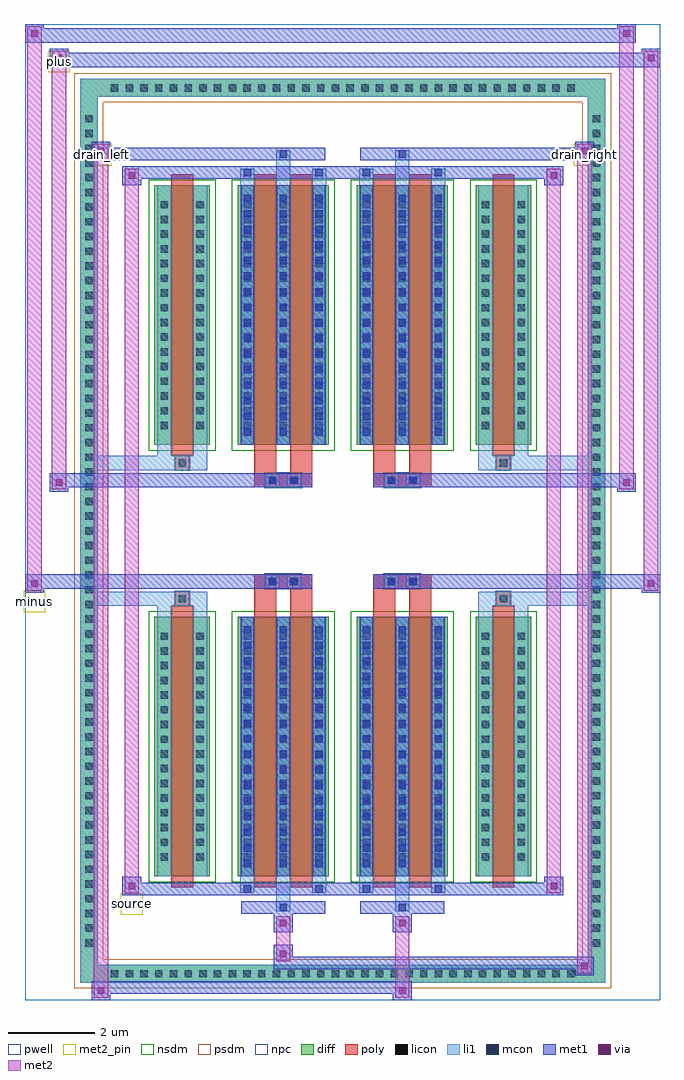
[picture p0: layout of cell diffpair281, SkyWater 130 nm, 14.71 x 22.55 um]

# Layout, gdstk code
import gdstk
lib = gdstk.Library(unit=1e-6, precision=5e-09)
def R(c, l, rs):  # rectangles x0, y0, x1, y1
    for r in rs: c.add(gdstk.rectangle(r[:2], r[2:], *l))
def A(c, l, x, y, w, h, nx, ny, dx, dy):  # array of equal rectangles
    R(c, l, [(x+i*dx, y+j*dy, x+i*dx+w, y+j*dy+h) for i in range(nx) for j in range(ny)])
def P(c, l, *ps):  # polygons
    for p in ps: c.add(gdstk.Polygon(p, *l))
pwell = (64, 44)
diff = (65, 20)
poly = (66, 20)
licon = (66, 44)
li1 = (67, 20)
mcon = (67, 44)
met1 = (68, 20)
via = (68, 44)
met2_pin = (69, 16)
met2 = (69, 20)
nsdm = (93, 44)
psdm = (94, 20)
npc = (95, 20)

diffpair281 = lib.new_cell('diffpair281')
R(diffpair281, pwell, [(-7.34,-10.84,7.34,11.71), (-4.66,-9.03,-0.01,-0.805), (0.01,-9.03,4.66,-0.805), (-4.66,0.805,-0.01,9.03), (0.01,0.805,4.66,9.03)])
A(diffpair281, diff, -5.475, -10.44, 0.41, 0.41, 32, 2, 0.34, 20.47)
A(diffpair281, diff, -6.07, -9.725, 0.41, 0.41, 1, 57, 0, 0.34)
A(diffpair281, diff, 5.66, -9.725, 0.41, 0.41, 1, 57, 0, 0.34)
R(diffpair281, diff, [(-5.475,-10.44,5.475,-10.03), (-6.07,-9.725,-5.66,9.725), (5.66,-9.725,6.07,9.725), (-4.35,-7.985,-3.07,-1.985), (-2.43,-7.985,-0.32,-1.985), (0.32,-7.985,2.43,-1.985), (3.07,-7.985,4.35,-1.985), (-4.35,1.985,-3.07,7.985), (-2.43,1.985,-0.32,7.985), (0.32,1.985,2.43,7.985), (3.07,1.985,4.35,7.985), (-5.475,10.03,5.475,10.44)])
P(diffpair281, diff, [(6.07,10.44),(-6.07,10.44),(-6.07,-10.03),(-5.66,-10.03),(-5.66,10.03),(5.66,10.03),(5.66,-10.03),(-5.66,-10.03),(-6.07,-10.03),(-6.07,-10.44),(6.07,-10.44)])
R(diffpair281, poly, [(-3.96,-8.235,-3.46,-1.735), (-2.04,-8.235,-1.54,-1.735), (-1.21,-8.235,-0.71,-1.735), (0.71,-8.235,1.21,-1.735), (1.54,-8.235,2.04,-1.735), (3.46,-8.235,3.96,-1.735), (-3.875,-1.735,-3.545,-1.405), (-3.875,-1.735,-3.545,-1.405), (-2.04,-1.735,-1.54,-1.335), (-1.21,-1.735,-0.71,-1.335), (0.71,-1.735,1.21,-1.335), (1.54,-1.735,2.04,-1.335), (3.545,-1.735,3.875,-1.405), (3.545,-1.735,3.875,-1.405), (-2.04,-1.335,-0.71,-1.005), (-1.79,-1.335,-1.46,-1.005), (-1.29,-1.335,-0.96,-1.005), (0.71,-1.335,2.04,-1.005), (0.96,-1.335,1.29,-1.005), (1.46,-1.335,1.79,-1.005), (-2.04,1.005,-0.71,1.335), (-1.79,1.005,-1.46,1.335), (-1.29,1.005,-0.96,1.335), (0.71,1.005,2.04,1.335), (0.96,1.005,1.29,1.335), (1.46,1.005,1.79,1.335), (-2.04,1.335,-1.54,1.735), (-1.21,1.335,-0.71,1.735), (0.71,1.335,1.21,1.735), (1.54,1.335,2.04,1.735), (-3.875,1.405,-3.545,1.735), (-3.875,1.405,-3.545,1.735), (3.545,1.405,3.875,1.735), (3.545,1.405,3.875,1.735), (-3.96,1.735,-3.46,8.235), (-2.04,1.735,-1.54,8.235), (-1.21,1.735,-0.71,8.235), (0.71,1.735,1.21,8.235), (1.54,1.735,2.04,8.235), (3.46,1.735,3.96,8.235)])
A(diffpair281, licon, -5.355, -10.32, 0.17, 0.17, 32, 2, 0.34, 20.47)
A(diffpair281, licon, -5.95, -9.605, 0.17, 0.17, 1, 57, 0, 0.34)
A(diffpair281, licon, 5.78, -9.605, 0.17, 0.17, 1, 57, 0, 0.34)
A(diffpair281, licon, -4.21, -7.62, 0.17, 0.17, 1, 16, 0, 0.34)
A(diffpair281, licon, -3.38, -7.62, 0.17, 0.17, 1, 16, 0, 0.34)
A(diffpair281, licon, -2.29, -7.62, 0.17, 0.17, 3, 16, 0.83, 0.34)
A(diffpair281, licon, 0.46, -7.62, 0.17, 0.17, 3, 16, 0.83, 0.34)
A(diffpair281, licon, 3.21, -7.62, 0.17, 0.17, 1, 16, 0, 0.34)
A(diffpair281, licon, 4.04, -7.62, 0.17, 0.17, 1, 16, 0, 0.34)
A(diffpair281, licon, -4.21, 2.35, 0.17, 0.17, 1, 16, 0, 0.34)
A(diffpair281, licon, -3.38, 2.35, 0.17, 0.17, 1, 16, 0, 0.34)
A(diffpair281, licon, -2.29, 2.35, 0.17, 0.17, 3, 16, 0.83, 0.34)
A(diffpair281, licon, 0.46, 2.35, 0.17, 0.17, 3, 16, 0.83, 0.34)
A(diffpair281, licon, 3.21, 2.35, 0.17, 0.17, 1, 16, 0, 0.34)
A(diffpair281, licon, 4.04, 2.35, 0.17, 0.17, 1, 16, 0, 0.34)
R(diffpair281, licon, [(-3.795,-1.655,-3.625,-1.485), (3.625,-1.655,3.795,-1.485), (-1.71,-1.255,-1.54,-1.085), (-1.21,-1.255,-1.04,-1.085), (1.04,-1.255,1.21,-1.085), (1.54,-1.255,1.71,-1.085), (-1.71,1.085,-1.54,1.255), (-1.21,1.085,-1.04,1.255), (1.04,1.085,1.21,1.255), (1.54,1.085,1.71,1.255), (-3.795,1.485,-3.625,1.655), (3.625,1.485,3.795,1.655)])
A(diffpair281, li1, -5.435, -10.4, 0.33, 0.33, 32, 2, 0.34, 20.47)
A(diffpair281, li1, -6.03, -9.685, 0.33, 0.33, 1, 57, 0, 0.34)
A(diffpair281, li1, 5.7, -9.685, 0.33, 0.33, 1, 57, 0, 0.34)
A(diffpair281, li1, -2.37, -7.985, 0.33, 6, 3, 2, 0.83, 9.97)
A(diffpair281, li1, 0.38, -7.985, 0.33, 6, 3, 2, 0.83, 9.97)
A(diffpair281, li1, -2.29, -7.77, 0.17, 0.17, 3, 16, 0.83, 0.36)
A(diffpair281, li1, -2.29, -7.77, 0.17, 5.57, 3, 2, 0.83, 9.97)
A(diffpair281, li1, 0.46, -7.77, 0.17, 0.17, 3, 16, 0.83, 0.36)
A(diffpair281, li1, 0.46, -7.77, 0.17, 5.57, 3, 2, 0.83, 9.97)
A(diffpair281, li1, -4.29, -7.7, 0.33, 0.33, 1, 16, 0, 0.34)
A(diffpair281, li1, -3.46, -7.7, 0.33, 0.33, 1, 16, 0, 0.34)
A(diffpair281, li1, -2.37, -7.7, 0.33, 0.33, 3, 16, 0.83, 0.34)
A(diffpair281, li1, 0.38, -7.7, 0.33, 0.33, 3, 16, 0.83, 0.34)
A(diffpair281, li1, 3.13, -7.7, 0.33, 0.33, 1, 16, 0, 0.34)
A(diffpair281, li1, 3.96, -7.7, 0.33, 0.33, 1, 16, 0, 0.34)
A(diffpair281, li1, -2.29, 2.2, 0.17, 0.17, 3, 16, 0.83, 0.36)
A(diffpair281, li1, 0.46, 2.2, 0.17, 0.17, 3, 16, 0.83, 0.36)
A(diffpair281, li1, -4.29, 2.27, 0.33, 0.33, 1, 16, 0, 0.34)
A(diffpair281, li1, -3.46, 2.27, 0.33, 0.33, 1, 16, 0, 0.34)
A(diffpair281, li1, -2.37, 2.27, 0.33, 0.33, 3, 16, 0.83, 0.34)
A(diffpair281, li1, 0.38, 2.27, 0.33, 0.33, 3, 16, 0.83, 0.34)
A(diffpair281, li1, 3.13, 2.27, 0.33, 0.33, 1, 16, 0, 0.34)
A(diffpair281, li1, 3.96, 2.27, 0.33, 0.33, 1, 16, 0, 0.34)
R(diffpair281, li1, [(-6.07,-10.44,-5.66,-10.03), (-6.07,-10.44,-5.66,-10.03), (-5.66,-10.44,5.66,-10.03), (5.66,-10.44,6.07,-10.03), (5.66,-10.44,6.07,-10.03), (-6.07,-10.03,-5.66,10.03), (5.66,-10.03,6.07,10.03), (-1.54,-8.79,-1.21,-7.985), (-1.46,-8.79,-1.29,-8.62), (1.21,-8.79,1.54,-7.985), (1.29,-8.79,1.46,-8.62), (-2.37,-8.36,-2.04,-7.985), (-2.29,-8.36,-2.12,-8.19), (-0.71,-8.36,-0.38,-7.985), (-0.63,-8.36,-0.46,-8.19), (0.38,-8.36,0.71,-7.985), (0.46,-8.36,0.63,-8.19), (2.04,-8.36,2.37,-7.985), (2.12,-8.36,2.29,-8.19), (-4.29,-7.985,-3.96,-1.985), (-3.46,-7.985,-3.13,-1.985), (3.13,-7.985,3.46,-1.985), (3.96,-7.985,4.29,-1.985), (-4.29,-1.985,-3.96,-1.405), (-3.46,-1.985,-3.13,-1.405), (3.13,-1.985,3.46,-1.405), (3.96,-1.985,4.29,-1.405), (-6.07,-1.735,-3.875,-1.405), (-4.29,-1.735,-3.875,-1.405), (-3.875,-1.735,-3.545,-1.405), (-3.545,-1.735,-3.13,-1.405), (3.13,-1.735,3.545,-1.405), (3.545,-1.735,3.875,-1.405), (3.545,-1.735,6.07,-1.405), (3.875,-1.735,4.29,-1.405), (-1.79,-1.335,-1.46,-1.005), (-1.29,-1.335,-0.96,-1.005), (0.96,-1.335,1.29,-1.005), (1.46,-1.335,1.79,-1.005), (-1.79,1.005,-1.46,1.335), (-1.29,1.005,-0.96,1.335), (0.96,1.005,1.29,1.335), (1.46,1.005,1.79,1.335), (-6.07,1.405,-3.875,1.735), (-4.29,1.405,-3.875,1.735), (-4.29,1.405,-3.96,1.985), (-3.875,1.405,-3.545,1.735), (-3.545,1.405,-3.13,1.735), (-3.46,1.405,-3.13,1.985), (3.13,1.405,3.545,1.735), (3.13,1.405,3.46,1.985), (3.545,1.405,3.875,1.735), (3.545,1.405,6.07,1.735), (3.875,1.405,4.29,1.735), (3.96,1.405,4.29,1.985), (-4.29,1.985,-3.96,7.985), (-3.46,1.985,-3.13,7.985), (3.13,1.985,3.46,7.985), (3.96,1.985,4.29,7.985), (-2.37,7.985,-2.04,8.36), (-1.54,7.985,-1.21,8.79), (-0.71,7.985,-0.38,8.36), (0.38,7.985,0.71,8.36), (1.21,7.985,1.54,8.79), (2.04,7.985,2.37,8.36), (-2.29,8.19,-2.12,8.36), (-0.63,8.19,-0.46,8.36), (0.46,8.19,0.63,8.36), (2.12,8.19,2.29,8.36), (-1.46,8.62,-1.29,8.79), (1.29,8.62,1.46,8.79), (-6.07,10.03,-5.66,10.44), (-6.07,10.03,-5.66,10.44), (-5.66,10.03,5.66,10.44), (5.66,10.03,6.07,10.44), (5.66,10.03,6.07,10.44)])
A(diffpair281, mcon, -2.29, -7.77, 0.17, 0.17, 3, 16, 0.83, 0.36)
A(diffpair281, mcon, 0.46, -7.77, 0.17, 0.17, 3, 16, 0.83, 0.36)
A(diffpair281, mcon, -2.29, 2.2, 0.17, 0.17, 3, 16, 0.83, 0.36)
A(diffpair281, mcon, 0.46, 2.2, 0.17, 0.17, 3, 16, 0.83, 0.36)
R(diffpair281, mcon, [(-1.46,-8.79,-1.29,-8.62), (1.29,-8.79,1.46,-8.62), (-2.29,-8.36,-2.12,-8.19), (-0.63,-8.36,-0.46,-8.19), (0.46,-8.36,0.63,-8.19), (2.12,-8.36,2.29,-8.19), (-1.71,-1.255,-1.54,-1.085), (-1.21,-1.255,-1.04,-1.085), (1.04,-1.255,1.21,-1.085), (1.54,-1.255,1.71,-1.085), (-1.71,1.085,-1.54,1.255), (-1.21,1.085,-1.04,1.255), (1.04,1.085,1.21,1.255), (1.54,1.085,1.71,1.255), (-2.29,8.19,-2.12,8.36), (-0.63,8.19,-0.46,8.36), (0.46,8.19,0.63,8.36), (2.12,8.19,2.29,8.36), (-1.46,8.62,-1.29,8.79), (1.29,8.62,1.46,8.79)])
A(diffpair281, met1, -2.35, -7.985, 0.29, 6, 3, 2, 0.83, 9.97)
A(diffpair281, met1, 0.4, -7.985, 0.29, 6, 3, 2, 0.83, 9.97)
A(diffpair281, met1, -2.35, -7.83, 0.29, 0.29, 3, 16, 0.83, 0.36)
A(diffpair281, met1, 0.4, -7.83, 0.29, 0.29, 3, 16, 0.83, 0.36)
A(diffpair281, met1, -2.35, 2.14, 0.29, 0.29, 3, 16, 0.83, 0.36)
A(diffpair281, met1, 0.4, 2.14, 0.29, 0.29, 3, 16, 0.83, 0.36)
R(diffpair281, met1, [(-5.8,-10.84,-5.37,-10.41), (1.16,-10.84,1.59,-10.41), (-5.8,-10.7,1.59,-10.41), (5.37,-10.27,5.8,-9.84), (-1.59,-10.13,5.8,-9.84), (-1.59,-9.99,-1.16,-9.56), (-1.59,-9.28,-1.16,-8.85), (1.16,-9.28,1.59,-8.85), (-2.35,-8.85,-0.4,-8.56), (-1.52,-8.85,-1.23,-8.56), (0.4,-8.85,2.35,-8.56), (1.23,-8.85,1.52,-8.56), (-5.09,-8.42,-4.66,-7.99), (-5.09,-8.42,-2.35,-8.13), (-2.35,-8.42,-2.06,-8.13), (-2.35,-8.42,-0.4,-8.13), (-0.69,-8.42,-0.4,-8.13), (-0.4,-8.42,0.4,-8.13), (0.4,-8.42,0.69,-8.13), (0.4,-8.42,2.35,-8.13), (2.06,-8.42,2.35,-8.13), (2.35,-8.42,5.09,-8.13), (4.66,-8.42,5.09,-7.99), (-7.34,-1.435,-6.91,-1.005), (6.91,-1.435,7.34,-1.005), (-7.34,-1.335,-0.71,-1.005), (-2.04,-1.335,-0.71,-1.005), (0.71,-1.335,2.04,-1.005), (0.71,-1.335,7.34,-1.005), (-1.77,-1.315,-1.48,-1.025), (-1.27,-1.315,-0.98,-1.025), (0.98,-1.315,1.27,-1.025), (1.48,-1.315,1.77,-1.025), (-6.77,0.905,-6.34,1.335), (6.34,0.905,6.77,1.335), (-6.77,1.005,-2.04,1.335), (-2.04,1.005,-0.71,1.335), (0.71,1.005,2.04,1.335), (2.04,1.005,6.77,1.335), (-1.77,1.025,-1.48,1.315), (-1.27,1.025,-0.98,1.315), (0.98,1.025,1.27,1.315), (1.48,1.025,1.77,1.315), (-5.09,7.99,-4.66,8.42), (4.66,7.99,5.09,8.42), (-5.09,8.13,-2.35,8.42), (-2.35,8.13,-2.06,8.42), (-2.35,8.13,-0.4,8.42), (-0.69,8.13,-0.4,8.42), (-0.4,8.13,0.4,8.42), (0.4,8.13,0.69,8.42), (0.4,8.13,2.35,8.42), (2.06,8.13,2.35,8.42), (2.35,8.13,5.09,8.42), (-5.8,8.56,-5.37,8.99), (-5.8,8.56,-2.35,8.85), (-2.35,8.56,-0.4,8.85), (-1.52,8.56,-1.23,8.85), (0.4,8.56,2.35,8.85), (1.23,8.56,1.52,8.85), (2.35,8.56,5.8,8.85), (5.37,8.56,5.8,8.99), (-6.77,10.71,-6.34,11.14), (-6.77,10.71,-4.66,11.04), (-4.66,10.71,4.66,11.04), (4.66,10.71,7.34,11.04), (6.91,10.71,7.34,11.14), (-7.34,11.28,-6.91,11.71), (-7.34,11.28,-4.66,11.61), (-4.66,11.28,4.66,11.61), (4.66,11.28,6.77,11.61), (6.34,11.28,6.77,11.71)])
R(diffpair281, via, [(-5.66,-10.7,-5.51,-10.55), (1.3,-10.7,1.45,-10.55), (5.51,-10.13,5.66,-9.98), (-1.45,-9.85,-1.3,-9.7), (-1.45,-9.14,-1.3,-8.99), (1.3,-9.14,1.45,-8.99), (-4.95,-8.28,-4.8,-8.13), (4.8,-8.28,4.95,-8.13), (-7.2,-1.295,-7.05,-1.145), (7.05,-1.295,7.2,-1.145), (-6.63,1.045,-6.48,1.195), (6.48,1.045,6.63,1.195), (-4.95,8.13,-4.8,8.28), (4.8,8.13,4.95,8.28), (-5.66,8.7,-5.51,8.85), (5.51,8.7,5.66,8.85), (-6.63,10.85,-6.48,11), (7.05,10.85,7.2,11), (-7.2,11.42,-7.05,11.57), (6.48,11.42,6.63,11.57)])
R(diffpair281, met2_pin, [(-5.125,-8.87,-4.625,-8.37), (-7.375,-1.885,-6.875,-1.385), (-5.835,8.44,-5.335,8.94), (5.335,8.44,5.835,8.94), (-6.805,10.59,-6.305,11.09)])
R(diffpair281, met2, [(-5.75,-10.79,-5.42,-10.46), (-5.75,-10.79,-5.42,8.94), (1.21,-10.79,1.54,-10.46), (1.21,-10.46,1.54,-9.23), (5.42,-10.22,5.75,-9.89), (5.42,-10.22,5.75,8.94), (-1.54,-9.94,-1.21,-9.61), (-1.54,-9.61,-1.21,-9.23), (-1.54,-9.23,-1.21,-8.9), (1.21,-9.23,1.54,-8.9), (-5.04,-8.37,-4.71,-8.04), (-5.04,-8.37,-4.71,8.37), (4.71,-8.37,5.04,-8.04), (4.71,-8.37,5.04,8.37), (-7.29,-1.385,-6.96,-1.055), (-7.29,-1.385,-6.96,11.66), (6.96,-1.385,7.29,-1.055), (6.96,-1.385,7.29,11.09), (-6.72,0.955,-6.39,1.285), (-6.72,0.955,-6.39,11.09), (6.39,0.955,6.72,1.285), (6.39,0.955,6.72,11.66), (-5.04,8.04,-4.71,8.37), (4.71,8.04,5.04,8.37), (-5.75,8.61,-5.42,8.94), (5.42,8.61,5.75,8.94), (-6.72,10.76,-6.39,11.09), (6.96,10.76,7.29,11.09), (-7.29,11.33,-6.96,11.66), (6.39,11.33,6.72,11.66)])
P(diffpair281, met2, [(7.29,-1.385),(7.29,-1.385),(7.29,-1.055),(7.29,-1.055)],
  [(7.29,10.76),(7.29,10.76),(7.29,11.09),(7.29,11.09)],
  [(-6.96,-1.385),(-6.96,-1.385),(-6.96,-1.055),(-6.96,-1.055)],
  [(-6.96,11.33),(-6.96,11.33),(-6.96,11.66),(-6.96,11.66)],
  [(6.72,0.955),(6.72,0.955),(6.72,1.285),(6.72,1.285)],
  [(6.72,11.33),(6.72,11.33),(6.72,11.66),(6.72,11.66)],
  [(-6.39,0.955),(-6.39,0.955),(-6.39,1.285),(-6.39,1.285)],
  [(-6.39,10.76),(-6.39,10.76),(-6.39,11.09),(-6.39,11.09)],
  [(-5.42,-10.79),(-5.42,-10.79),(-5.42,-10.46),(-5.42,-10.46)],
  [(-5.42,8.61),(-5.42,8.61),(-5.42,8.94),(-5.42,8.94)],
  [(5.75,-10.22),(5.75,-10.22),(5.75,-9.89),(5.75,-9.89)],
  [(5.75,8.61),(5.75,8.61),(5.75,8.94),(5.75,8.94)],
  [(-4.71,-8.37),(-4.71,-8.37),(-4.71,-8.04),(-4.71,-8.04)],
  [(-4.71,8.04),(-4.71,8.04),(-4.71,8.37),(-4.71,8.37)],
  [(5.04,-8.37),(5.04,-8.37),(5.04,-8.04),(5.04,-8.04)],
  [(5.04,8.04),(5.04,8.04),(5.04,8.37),(5.04,8.37)])
R(diffpair281, nsdm, [(-4.48,-8.115,-2.94,-1.855), (-2.56,-8.115,-0.19,-1.855), (0.19,-8.115,2.56,-1.855), (2.94,-8.115,4.48,-1.855), (-4.48,1.855,-2.94,8.115), (-2.56,1.855,-0.19,8.115), (0.19,1.855,2.56,8.115), (2.94,1.855,4.48,8.115)])
P(diffpair281, psdm, [(6.2,10.57),(-6.2,10.57),(-6.2,-9.9),(-5.53,-9.9),(-5.53,9.9),(5.53,9.9),(5.53,-9.9),(-5.53,-9.9),(-6.2,-9.9),(-6.2,-10.57),(6.2,-10.57)])
R(diffpair281, npc, [(-3.895,-1.755,-3.525,-1.385), (3.525,-1.755,3.895,-1.385), (-1.81,-1.355,-1.44,-0.985), (-1.81,-1.355,-0.94,-0.985), (-1.81,-1.355,-0.94,-0.985), (-1.31,-1.355,-0.94,-0.985), (0.94,-1.355,1.31,-0.985), (0.94,-1.355,1.81,-0.985), (0.94,-1.355,1.81,-0.985), (1.44,-1.355,1.81,-0.985), (-1.81,0.985,-1.44,1.355), (-1.81,0.985,-0.94,1.355), (-1.81,0.985,-0.94,1.355), (-1.31,0.985,-0.94,1.355), (0.94,0.985,1.31,1.355), (0.94,0.985,1.81,1.355), (0.94,0.985,1.81,1.355), (1.44,0.985,1.81,1.355), (-3.895,1.385,-3.525,1.755), (3.525,1.385,3.895,1.755)])
diffpair281.add(gdstk.Label('minus', (-7.125,-1.635), layer=69, texttype=5))
diffpair281.add(gdstk.Label('drain_right', (5.585,8.69), layer=69, texttype=5))
diffpair281.add(gdstk.Label('drain_left', (-5.585,8.69), layer=69, texttype=5))
diffpair281.add(gdstk.Label('source', (-4.875,-8.62), layer=69, texttype=5))
diffpair281.add(gdstk.Label('plus', (-6.555,10.84), layer=69, texttype=5))

lib.write_gds('diffpair281.gds')
